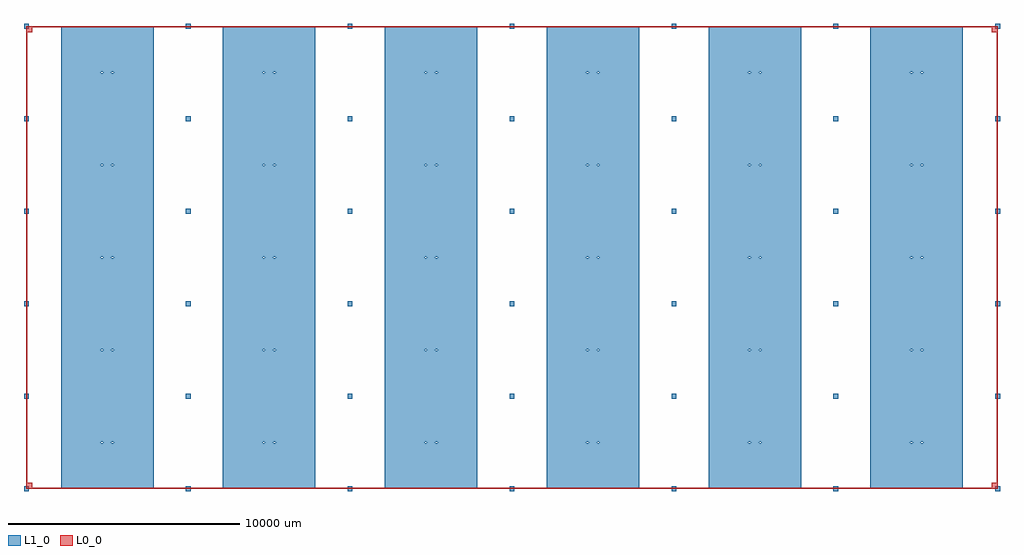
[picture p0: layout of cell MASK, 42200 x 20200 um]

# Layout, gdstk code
import gdstk
lib = gdstk.Library(unit=1e-6, precision=1e-09)
def P(c, l, *ps):  # polygons
    for p in ps: c.add(gdstk.Polygon(p, *l))
L0_0 = (0, 0)
L1_0 = (1, 0)

fluxoniumsymmetricantenn = lib.new_cell('FluxoniumSymmetricAntenna[0]')
P(fluxoniumsymmetricantenn, L1_0, [(2000,2000),(-2000,2000),(-2000,-25),(-280,-25),(-280,25),(-180,25),(-180,5),(-30,5),(-30,-5),(30,-5),(30,5),(180,5),(180,25),(280,25),(280,-25),(180,-25),(180,-5),(30,-5),(-30,-5),(-180,-5),(-180,-25),(-280,-25),(-2000,-25),(-2000,-2000),(2000,-2000)])

floatingpads_0_ = lib.new_cell('FloatingPads[0]')
P(floatingpads_0_, L1_0, [(100,100),(-100,100),(-100,-10),(-10,-10),(-10,10),(10,10),(10,-10),(-10,-10),(-100,-10),(-100,-100),(100,-100)])

mask = lib.new_cell('MASK')
P(mask, L0_0, [(-21000,10000),(-21000,-9750),(-20950,-9750),(-20950,9750),(-20750,9750),(-20750,9950),(20750,9950),(20750,9750),(20950,9750),(20950,-9750),(20750,-9750),(20750,-9950),(-20750,-9950),(-20750,-9750),(-20950,-9750),(-21000,-9750),(-21000,-10000),(21000,-10000),(21000,10000)])
mask.add(gdstk.Reference(fluxoniumsymmetricantenn, (-17500,-8000)))
mask.add(gdstk.Reference(fluxoniumsymmetricantenn, (-17500,-4000)))
mask.add(gdstk.Reference(fluxoniumsymmetricantenn, (-17500,0)))
mask.add(gdstk.Reference(fluxoniumsymmetricantenn, (-17500,4000)))
mask.add(gdstk.Reference(fluxoniumsymmetricantenn, (-17500,8000)))
mask.add(gdstk.Reference(fluxoniumsymmetricantenn, (-10500,-8000)))
mask.add(gdstk.Reference(fluxoniumsymmetricantenn, (-10500,-4000)))
mask.add(gdstk.Reference(fluxoniumsymmetricantenn, (-10500,0)))
mask.add(gdstk.Reference(fluxoniumsymmetricantenn, (-10500,4000)))
mask.add(gdstk.Reference(fluxoniumsymmetricantenn, (-10500,8000)))
mask.add(gdstk.Reference(fluxoniumsymmetricantenn, (-3500,-8000)))
mask.add(gdstk.Reference(fluxoniumsymmetricantenn, (-3500,-4000)))
mask.add(gdstk.Reference(fluxoniumsymmetricantenn, (-3500,0)))
mask.add(gdstk.Reference(fluxoniumsymmetricantenn, (-3500,4000)))
mask.add(gdstk.Reference(fluxoniumsymmetricantenn, (-3500,8000)))
mask.add(gdstk.Reference(fluxoniumsymmetricantenn, (3500,-8000)))
mask.add(gdstk.Reference(fluxoniumsymmetricantenn, (3500,-4000)))
mask.add(gdstk.Reference(fluxoniumsymmetricantenn, (3500,0)))
mask.add(gdstk.Reference(fluxoniumsymmetricantenn, (3500,4000)))
mask.add(gdstk.Reference(fluxoniumsymmetricantenn, (3500,8000)))
mask.add(gdstk.Reference(fluxoniumsymmetricantenn, (10500,-8000)))
mask.add(gdstk.Reference(fluxoniumsymmetricantenn, (10500,-4000)))
mask.add(gdstk.Reference(fluxoniumsymmetricantenn, (10500,0)))
mask.add(gdstk.Reference(fluxoniumsymmetricantenn, (10500,4000)))
mask.add(gdstk.Reference(fluxoniumsymmetricantenn, (10500,8000)))
mask.add(gdstk.Reference(fluxoniumsymmetricantenn, (17500,-8000)))
mask.add(gdstk.Reference(fluxoniumsymmetricantenn, (17500,-4000)))
mask.add(gdstk.Reference(fluxoniumsymmetricantenn, (17500,0)))
mask.add(gdstk.Reference(fluxoniumsymmetricantenn, (17500,4000)))
mask.add(gdstk.Reference(fluxoniumsymmetricantenn, (17500,8000)))
mask.add(gdstk.Reference(floatingpads_0_, (-21000,-10000)))
mask.add(gdstk.Reference(floatingpads_0_, (-21000,-6000)))
mask.add(gdstk.Reference(floatingpads_0_, (-21000,-2000)))
mask.add(gdstk.Reference(floatingpads_0_, (-21000,2000)))
mask.add(gdstk.Reference(floatingpads_0_, (-21000,6000)))
mask.add(gdstk.Reference(floatingpads_0_, (-21000,10000)))
mask.add(gdstk.Reference(floatingpads_0_, (-14000,-10000)))
mask.add(gdstk.Reference(floatingpads_0_, (-14000,-6000)))
mask.add(gdstk.Reference(floatingpads_0_, (-14000,-2000)))
mask.add(gdstk.Reference(floatingpads_0_, (-14000,2000)))
mask.add(gdstk.Reference(floatingpads_0_, (-14000,6000)))
mask.add(gdstk.Reference(floatingpads_0_, (-14000,10000)))
mask.add(gdstk.Reference(floatingpads_0_, (-7000,-10000)))
mask.add(gdstk.Reference(floatingpads_0_, (-7000,-6000)))
mask.add(gdstk.Reference(floatingpads_0_, (-7000,-2000)))
mask.add(gdstk.Reference(floatingpads_0_, (-7000,2000)))
mask.add(gdstk.Reference(floatingpads_0_, (-7000,6000)))
mask.add(gdstk.Reference(floatingpads_0_, (-7000,10000)))
mask.add(gdstk.Reference(floatingpads_0_, (0,-10000)))
mask.add(gdstk.Reference(floatingpads_0_, (0,-6000)))
mask.add(gdstk.Reference(floatingpads_0_, (0,-2000)))
mask.add(gdstk.Reference(floatingpads_0_, (0,2000)))
mask.add(gdstk.Reference(floatingpads_0_, (0,6000)))
mask.add(gdstk.Reference(floatingpads_0_, (0,10000)))
mask.add(gdstk.Reference(floatingpads_0_, (7000,-10000)))
mask.add(gdstk.Reference(floatingpads_0_, (7000,-6000)))
mask.add(gdstk.Reference(floatingpads_0_, (7000,-2000)))
mask.add(gdstk.Reference(floatingpads_0_, (7000,2000)))
mask.add(gdstk.Reference(floatingpads_0_, (7000,6000)))
mask.add(gdstk.Reference(floatingpads_0_, (7000,10000)))
mask.add(gdstk.Reference(floatingpads_0_, (14000,-10000)))
mask.add(gdstk.Reference(floatingpads_0_, (14000,-6000)))
mask.add(gdstk.Reference(floatingpads_0_, (14000,-2000)))
mask.add(gdstk.Reference(floatingpads_0_, (14000,2000)))
mask.add(gdstk.Reference(floatingpads_0_, (14000,6000)))
mask.add(gdstk.Reference(floatingpads_0_, (14000,10000)))
mask.add(gdstk.Reference(floatingpads_0_, (21000,-10000)))
mask.add(gdstk.Reference(floatingpads_0_, (21000,-6000)))
mask.add(gdstk.Reference(floatingpads_0_, (21000,-2000)))
mask.add(gdstk.Reference(floatingpads_0_, (21000,2000)))
mask.add(gdstk.Reference(floatingpads_0_, (21000,6000)))
mask.add(gdstk.Reference(floatingpads_0_, (21000,10000)))

lib.write_gds('MASK.gds')
